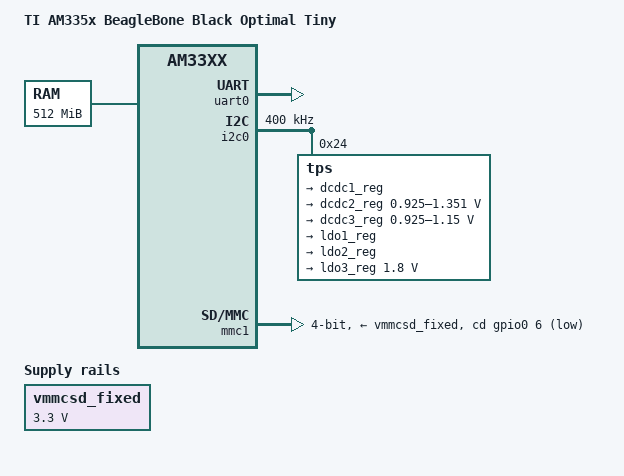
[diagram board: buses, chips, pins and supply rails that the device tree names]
// SPDX-License-Identifier: GPL-2.0-only
/*
 * Strict direction B Phase 2 board-minimal BeagleBone Black DT.
 */
/dts-v1/;

#include "am33xx.dtsi"

/ {
	model = "TI AM335x BeagleBone Black Optimal Tiny";
	compatible = "beaglebone-optimal,am335x-bone-black-tiny",
		     "ti,am335x-bone-black",
		     "ti,am335x-bone",
		     "ti,am33xx";

	cpus {
		cpu@0 {
			cpu0-supply = <&dcdc2_reg>;
		};
	};

	memory@80000000 {
		device_type = "memory";
		reg = <0x80000000 0x20000000>;
	};

	chosen {
		stdout-path = &uart0;
	};

	vmmcsd_fixed: fixedregulator0 {
		compatible = "regulator-fixed";
		regulator-name = "vmmcsd_fixed";
		regulator-min-microvolt = <3300000>;
		regulator-max-microvolt = <3300000>;
	};
};

&am33xx_pinmux {
	i2c0_pins: i2c0-pins {
		pinctrl-single,pins = <
			AM33XX_PADCONF(AM335X_PIN_I2C0_SDA, PIN_INPUT_PULLUP, MUX_MODE0)
			AM33XX_PADCONF(AM335X_PIN_I2C0_SCL, PIN_INPUT_PULLUP, MUX_MODE0)
		>;
	};

	uart0_pins: uart0-pins {
		pinctrl-single,pins = <
			AM33XX_PADCONF(AM335X_PIN_UART0_RXD, PIN_INPUT_PULLUP, MUX_MODE0)
			AM33XX_PADCONF(AM335X_PIN_UART0_TXD, PIN_OUTPUT_PULLDOWN, MUX_MODE0)
		>;
	};

	mmc1_pins: mmc1-pins {
		pinctrl-single,pins = <
			AM33XX_PADCONF(AM335X_PIN_SPI0_CS1, PIN_INPUT, MUX_MODE7)
			AM33XX_PADCONF(AM335X_PIN_MMC0_DAT0, PIN_INPUT_PULLUP, MUX_MODE0)
			AM33XX_PADCONF(AM335X_PIN_MMC0_DAT1, PIN_INPUT_PULLUP, MUX_MODE0)
			AM33XX_PADCONF(AM335X_PIN_MMC0_DAT2, PIN_INPUT_PULLUP, MUX_MODE0)
			AM33XX_PADCONF(AM335X_PIN_MMC0_DAT3, PIN_INPUT_PULLUP, MUX_MODE0)
			AM33XX_PADCONF(AM335X_PIN_MMC0_CMD, PIN_INPUT_PULLUP, MUX_MODE0)
			AM33XX_PADCONF(AM335X_PIN_MMC0_CLK, PIN_INPUT_PULLUP, MUX_MODE0)
		>;
	};
};

&uart0 {
	pinctrl-names = "default";
	pinctrl-0 = <&uart0_pins>;
	status = "okay";
};

&i2c0 {
	pinctrl-names = "default";
	pinctrl-0 = <&i2c0_pins>;
	status = "okay";
	clock-frequency = <400000>;

	tps: tps@24 {
		reg = <0x24>;
	};
};

/include/ "../../tps65217.dtsi"

&usb0_phy {
	status = "disabled";
};

&usb1_phy {
	status = "disabled";
};

&usb0 {
	status = "disabled";
};

&usb1 {
	status = "disabled";
};

&cppi41dma {
	status = "disabled";
};

&i2c2 {
	status = "disabled";
};

&tps {
	interrupts = <7>;
	interrupt-parent = <&intc>;

	backlight {
		compatible = "ti,tps65217-bl";
		status = "disabled";
	};

	regulators {
		dcdc1_reg: regulator@0 {
			regulator-name = "vdds_dpr";
			regulator-always-on;
		};

		dcdc2_reg: regulator@1 {
			regulator-name = "vdd_mpu";
			regulator-min-microvolt = <925000>;
			regulator-max-microvolt = <1351500>;
			regulator-boot-on;
			regulator-always-on;
		};

		dcdc3_reg: regulator@2 {
			regulator-name = "vdd_core";
			regulator-min-microvolt = <925000>;
			regulator-max-microvolt = <1150000>;
			regulator-boot-on;
			regulator-always-on;
		};

		ldo1_reg: regulator@3 {
			regulator-name = "vio,vrtc,vdds";
			regulator-always-on;
		};

		ldo2_reg: regulator@4 {
			regulator-name = "vdd_3v3aux";
			regulator-always-on;
		};

		ldo3_reg: regulator@5 {
			regulator-name = "vdd_1v8";
			regulator-always-on;
		};

		/delete-node/ regulator@6;
	};
};

&ldo3_reg {
	regulator-min-microvolt = <1800000>;
	regulator-max-microvolt = <1800000>;
	regulator-always-on;
};

&mmc1 {
	status = "okay";
	bus-width = <4>;
	pinctrl-names = "default";
	pinctrl-0 = <&mmc1_pins>;
	cd-gpios = <&gpio0 6 GPIO_ACTIVE_LOW>;
	cd-debounce-delay-ms = <0>;
	vmmc-supply = <&vmmcsd_fixed>;
	vqmmc-supply = <&vmmcsd_fixed>;
	no-1-8-v;
};

&aes {
	status = "disabled";
};

&sham {
	status = "disabled";
};

&pruss_tm {
	status = "disabled";
};

&wkup_m3_ipc {
	status = "disabled";
};
